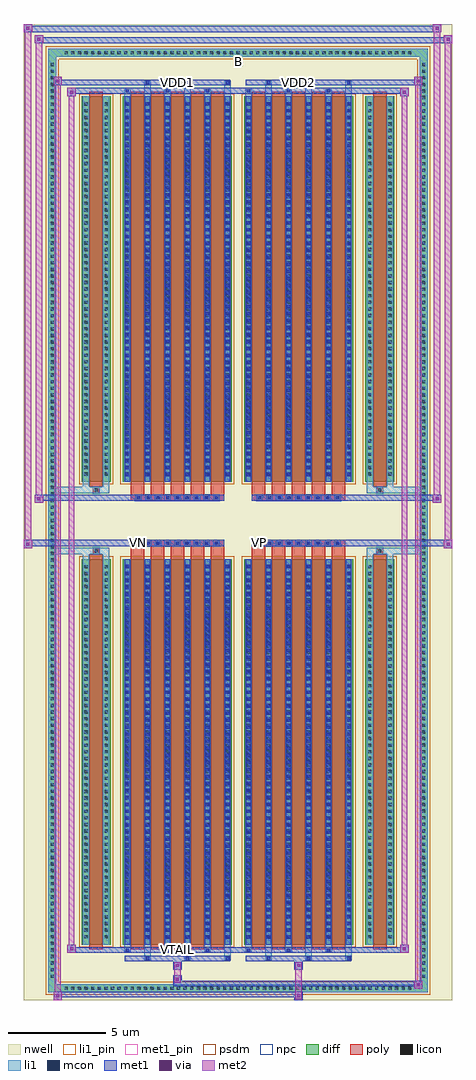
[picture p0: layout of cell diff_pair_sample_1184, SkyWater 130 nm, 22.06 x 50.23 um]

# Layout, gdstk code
import gdstk
lib = gdstk.Library(unit=1e-6, precision=5e-09)
def R(c, l, rs):  # rectangles x0, y0, x1, y1
    for r in rs: c.add(gdstk.rectangle(r[:2], r[2:], *l))
def A(c, l, x, y, w, h, nx, ny, dx, dy):  # array of equal rectangles
    R(c, l, [(x+i*dx, y+j*dy, x+i*dx+w, y+j*dy+h) for i in range(nx) for j in range(ny)])
def P(c, l, *ps):  # polygons
    for p in ps: c.add(gdstk.Polygon(p, *l))
nwell = (64, 20)
diff = (65, 20)
poly = (66, 20)
licon = (66, 44)
li1_pin = (67, 16)
li1 = (67, 20)
mcon = (67, 44)
met1_pin = (68, 16)
met1 = (68, 20)
via = (68, 44)
met2 = (69, 20)
psdm = (94, 20)
npc = (95, 20)

diff_pair_sample_1184 = lib.new_cell('diff_pair_sample_1184')
R(diff_pair_sample_1184, nwell, [(-11.03,-24.68,11.03,25.55), (-8.35,-22.87,-0.01,-0.805), (0.01,-22.87,8.35,-0.805), (-8.35,0.805,-0.01,22.87), (0.01,0.805,8.35,22.87)])
A(diff_pair_sample_1184, diff, -9.045, -24.28, 0.41, 0.41, 53, 2, 0.34, 48.15)
A(diff_pair_sample_1184, diff, -9.76, -23.665, 0.41, 0.41, 1, 139, 0, 0.34)
A(diff_pair_sample_1184, diff, 9.35, -23.665, 0.41, 0.41, 1, 139, 0, 0.34)
R(diff_pair_sample_1184, diff, [(-9.045,-24.28,9.045,-23.87), (-9.76,-23.665,-9.35,23.665), (9.35,-23.665,9.76,23.665), (-8.04,-21.825,-6.56,-1.985), (-5.92,-21.825,-0.32,-1.985), (0.32,-21.825,5.92,-1.985), (6.56,-21.825,8.04,-1.985), (-8.04,1.985,-6.56,21.825), (-5.92,1.985,-0.32,21.825), (0.32,1.985,5.92,21.825), (6.56,1.985,8.04,21.825), (-9.045,23.87,9.045,24.28)])
P(diff_pair_sample_1184, diff, [(9.76,24.28),(-9.76,24.28),(-9.76,-23.87),(-9.35,-23.87),(-9.35,23.87),(9.35,23.87),(9.35,-23.87),(-9.35,-23.87),(-9.76,-23.87),(-9.76,-24.28),(9.76,-24.28)])
A(diff_pair_sample_1184, poly, -5.53, -22.075, 0.7, 20.34, 5, 2, 1.03, 23.81)
A(diff_pair_sample_1184, poly, 0.71, -22.075, 0.7, 20.34, 5, 2, 1.03, 23.81)
A(diff_pair_sample_1184, poly, -5.53, -1.735, 0.7, 0.4, 5, 2, 1.03, 3.07)
A(diff_pair_sample_1184, poly, 0.71, -1.735, 0.7, 0.4, 5, 2, 1.03, 3.07)
A(diff_pair_sample_1184, poly, -5.285, -1.335, 0.33, 0.33, 9, 2, 0.5, 2.34)
A(diff_pair_sample_1184, poly, 0.955, -1.335, 0.33, 0.33, 9, 2, 0.5, 2.34)
R(diff_pair_sample_1184, poly, [(-7.65,-22.075,-6.95,-1.735), (6.95,-22.075,7.65,-1.735), (-7.465,-1.735,-7.135,-1.405), (-7.465,-1.735,-7.135,-1.405), (7.135,-1.735,7.465,-1.405), (7.135,-1.735,7.465,-1.405), (-5.53,-1.335,-0.71,-1.005), (0.71,-1.335,5.53,-1.005), (-5.53,1.005,-0.71,1.335), (0.71,1.005,5.53,1.335), (-7.465,1.405,-7.135,1.735), (-7.465,1.405,-7.135,1.735), (7.135,1.405,7.465,1.735), (7.135,1.405,7.465,1.735), (-7.65,1.735,-6.95,22.075), (6.95,1.735,7.65,22.075)])
A(diff_pair_sample_1184, licon, -8.925, -24.16, 0.17, 0.17, 53, 2, 0.34, 48.15)
A(diff_pair_sample_1184, licon, -9.64, -23.545, 0.17, 0.17, 1, 139, 0, 0.34)
A(diff_pair_sample_1184, licon, 9.47, -23.545, 0.17, 0.17, 1, 139, 0, 0.34)
A(diff_pair_sample_1184, licon, -7.9, -21.51, 0.17, 0.17, 1, 57, 0, 0.34)
A(diff_pair_sample_1184, licon, -6.87, -21.51, 0.17, 0.17, 1, 57, 0, 0.34)
A(diff_pair_sample_1184, licon, -5.78, -21.51, 0.17, 0.17, 6, 57, 1.03, 0.34)
A(diff_pair_sample_1184, licon, 0.46, -21.51, 0.17, 0.17, 6, 57, 1.03, 0.34)
A(diff_pair_sample_1184, licon, 6.7, -21.51, 0.17, 0.17, 1, 57, 0, 0.34)
A(diff_pair_sample_1184, licon, 7.73, -21.51, 0.17, 0.17, 1, 57, 0, 0.34)
A(diff_pair_sample_1184, licon, -5.205, -1.255, 0.17, 0.17, 9, 2, 0.5, 2.34)
A(diff_pair_sample_1184, licon, 1.035, -1.255, 0.17, 0.17, 9, 2, 0.5, 2.34)
A(diff_pair_sample_1184, licon, -7.9, 2.3, 0.17, 0.17, 1, 57, 0, 0.34)
A(diff_pair_sample_1184, licon, -6.87, 2.3, 0.17, 0.17, 1, 57, 0, 0.34)
A(diff_pair_sample_1184, licon, -5.78, 2.3, 0.17, 0.17, 6, 57, 1.03, 0.34)
A(diff_pair_sample_1184, licon, 0.46, 2.3, 0.17, 0.17, 6, 57, 1.03, 0.34)
A(diff_pair_sample_1184, licon, 6.7, 2.3, 0.17, 0.17, 1, 57, 0, 0.34)
A(diff_pair_sample_1184, licon, 7.73, 2.3, 0.17, 0.17, 1, 57, 0, 0.34)
R(diff_pair_sample_1184, licon, [(-7.385,-1.655,-7.215,-1.485), (7.215,-1.655,7.385,-1.485), (-7.385,1.485,-7.215,1.655), (7.215,1.485,7.385,1.655)])
R(diff_pair_sample_1184, li1_pin, [(-0.25,23.37,0.25,23.87)])
A(diff_pair_sample_1184, li1, -9.005, -24.24, 0.33, 0.33, 53, 2, 0.34, 48.15)
A(diff_pair_sample_1184, li1, -9.72, -23.625, 0.33, 0.33, 1, 139, 0, 0.34)
A(diff_pair_sample_1184, li1, 9.39, -23.625, 0.33, 0.33, 1, 139, 0, 0.34)
A(diff_pair_sample_1184, li1, -4.83, -22.63, 0.33, 0.805, 3, 2, 2.06, 44.455)
A(diff_pair_sample_1184, li1, -4.75, -22.63, 0.17, 0.17, 3, 2, 2.06, 45.09)
A(diff_pair_sample_1184, li1, 1.41, -22.63, 0.33, 0.805, 3, 2, 2.06, 44.455)
A(diff_pair_sample_1184, li1, 1.49, -22.63, 0.17, 0.17, 3, 2, 2.06, 45.09)
A(diff_pair_sample_1184, li1, -5.86, -22.2, 0.33, 0.375, 3, 2, 2.06, 44.025)
A(diff_pair_sample_1184, li1, -5.78, -22.2, 0.17, 0.17, 3, 2, 2.06, 44.23)
A(diff_pair_sample_1184, li1, 0.38, -22.2, 0.33, 0.375, 3, 2, 2.06, 44.025)
A(diff_pair_sample_1184, li1, 0.46, -22.2, 0.17, 0.17, 3, 2, 2.06, 44.23)
A(diff_pair_sample_1184, li1, -5.86, -21.825, 0.33, 19.84, 6, 2, 1.03, 23.81)
A(diff_pair_sample_1184, li1, 0.38, -21.825, 0.33, 19.84, 6, 2, 1.03, 23.81)
A(diff_pair_sample_1184, li1, -7.98, -21.59, 0.33, 0.33, 1, 57, 0, 0.34)
A(diff_pair_sample_1184, li1, -6.95, -21.59, 0.33, 0.33, 1, 57, 0, 0.34)
A(diff_pair_sample_1184, li1, -5.86, -21.59, 0.33, 0.33, 6, 57, 1.03, 0.34)
A(diff_pair_sample_1184, li1, 0.38, -21.59, 0.33, 0.33, 6, 57, 1.03, 0.34)
A(diff_pair_sample_1184, li1, 6.62, -21.59, 0.33, 0.33, 1, 57, 0, 0.34)
A(diff_pair_sample_1184, li1, 7.65, -21.59, 0.33, 0.33, 1, 57, 0, 0.34)
A(diff_pair_sample_1184, li1, -5.78, -21.53, 0.17, 0.17, 6, 54, 1.03, 0.36)
A(diff_pair_sample_1184, li1, -5.78, -21.53, 0.17, 19.25, 6, 2, 1.03, 23.81)
A(diff_pair_sample_1184, li1, 0.46, -21.53, 0.17, 0.17, 6, 54, 1.03, 0.36)
A(diff_pair_sample_1184, li1, 0.46, -21.53, 0.17, 19.25, 6, 2, 1.03, 23.81)
A(diff_pair_sample_1184, li1, -5.285, -1.335, 0.33, 0.33, 9, 2, 0.5, 2.34)
A(diff_pair_sample_1184, li1, 0.955, -1.335, 0.33, 0.33, 9, 2, 0.5, 2.34)
A(diff_pair_sample_1184, li1, -7.98, 2.22, 0.33, 0.33, 1, 57, 0, 0.34)
A(diff_pair_sample_1184, li1, -6.95, 2.22, 0.33, 0.33, 1, 57, 0, 0.34)
A(diff_pair_sample_1184, li1, -5.86, 2.22, 0.33, 0.33, 6, 57, 1.03, 0.34)
A(diff_pair_sample_1184, li1, 0.38, 2.22, 0.33, 0.33, 6, 57, 1.03, 0.34)
A(diff_pair_sample_1184, li1, 6.62, 2.22, 0.33, 0.33, 1, 57, 0, 0.34)
A(diff_pair_sample_1184, li1, 7.65, 2.22, 0.33, 0.33, 1, 57, 0, 0.34)
A(diff_pair_sample_1184, li1, -5.78, 2.28, 0.17, 0.17, 6, 54, 1.03, 0.36)
A(diff_pair_sample_1184, li1, 0.46, 2.28, 0.17, 0.17, 6, 54, 1.03, 0.36)
R(diff_pair_sample_1184, li1, [(-9.76,-24.28,-9.35,-23.87), (-9.76,-24.28,-9.35,-23.87), (-9.35,-24.28,9.35,-23.87), (9.35,-24.28,9.76,-23.87), (9.35,-24.28,9.76,-23.87), (-9.76,-23.87,-9.35,23.87), (9.35,-23.87,9.76,23.87), (-7.98,-21.825,-7.65,-1.985), (-6.95,-21.825,-6.62,-1.985), (6.62,-21.825,6.95,-1.985), (7.65,-21.825,7.98,-1.985), (-7.98,-1.985,-7.65,-1.405), (-6.95,-1.985,-6.62,-1.405), (6.62,-1.985,6.95,-1.405), (7.65,-1.985,7.98,-1.405), (-9.76,-1.735,-7.465,-1.405), (-7.98,-1.735,-7.465,-1.405), (-7.465,-1.735,-7.135,-1.405), (-7.135,-1.735,-6.62,-1.405), (6.62,-1.735,7.135,-1.405), (7.135,-1.735,7.465,-1.405), (7.135,-1.735,9.76,-1.405), (7.465,-1.735,7.98,-1.405), (-9.76,1.405,-7.465,1.735), (-7.98,1.405,-7.465,1.735), (-7.98,1.405,-7.65,1.985), (-7.465,1.405,-7.135,1.735), (-7.135,1.405,-6.62,1.735), (-6.95,1.405,-6.62,1.985), (6.62,1.405,7.135,1.735), (6.62,1.405,6.95,1.985), (7.135,1.405,7.465,1.735), (7.135,1.405,9.76,1.735), (7.465,1.405,7.98,1.735), (7.65,1.405,7.98,1.985), (-7.98,1.985,-7.65,21.825), (-6.95,1.985,-6.62,21.825), (6.62,1.985,6.95,21.825), (7.65,1.985,7.98,21.825), (-9.76,23.87,-9.35,24.28), (-9.76,23.87,-9.35,24.28), (-9.35,23.87,9.35,24.28), (9.35,23.87,9.76,24.28), (9.35,23.87,9.76,24.28)])
A(diff_pair_sample_1184, mcon, -4.75, -22.63, 0.17, 0.17, 3, 2, 2.06, 45.09)
A(diff_pair_sample_1184, mcon, 1.49, -22.63, 0.17, 0.17, 3, 2, 2.06, 45.09)
A(diff_pair_sample_1184, mcon, -5.78, -22.2, 0.17, 0.17, 3, 2, 2.06, 44.23)
A(diff_pair_sample_1184, mcon, 0.46, -22.2, 0.17, 0.17, 3, 2, 2.06, 44.23)
A(diff_pair_sample_1184, mcon, -5.78, -21.53, 0.17, 0.17, 6, 54, 1.03, 0.36)
A(diff_pair_sample_1184, mcon, 0.46, -21.53, 0.17, 0.17, 6, 54, 1.03, 0.36)
A(diff_pair_sample_1184, mcon, -5.205, -1.255, 0.17, 0.17, 9, 2, 0.5, 2.34)
A(diff_pair_sample_1184, mcon, 1.035, -1.255, 0.17, 0.17, 9, 2, 0.5, 2.34)
A(diff_pair_sample_1184, mcon, -5.78, 2.28, 0.17, 0.17, 6, 54, 1.03, 0.36)
A(diff_pair_sample_1184, mcon, 0.46, 2.28, 0.17, 0.17, 6, 54, 1.03, 0.36)
R(diff_pair_sample_1184, met1_pin, [(-3.255,-22.24,-2.985,-21.97), (-5.255,-1.295,-4.985,-1.025), (0.985,-1.295,1.255,-1.025), (-3.255,22.42,-2.985,22.69), (2.985,22.42,3.255,22.69)])
A(diff_pair_sample_1184, met1, -4.81, -22.69, 0.29, 0.29, 3, 2, 2.06, 45.09)
A(diff_pair_sample_1184, met1, 1.43, -22.69, 0.29, 0.29, 3, 2, 2.06, 45.09)
A(diff_pair_sample_1184, met1, -5.84, -22.26, 0.29, 0.29, 3, 2, 2.06, 44.23)
A(diff_pair_sample_1184, met1, 0.4, -22.26, 0.29, 0.29, 3, 2, 2.06, 44.23)
A(diff_pair_sample_1184, met1, -5.84, -21.825, 0.29, 19.84, 6, 2, 1.03, 23.81)
A(diff_pair_sample_1184, met1, 0.4, -21.825, 0.29, 19.84, 6, 2, 1.03, 23.81)
A(diff_pair_sample_1184, met1, -5.84, -21.59, 0.29, 0.29, 6, 54, 1.03, 0.36)
A(diff_pair_sample_1184, met1, 0.4, -21.59, 0.29, 0.29, 6, 54, 1.03, 0.36)
A(diff_pair_sample_1184, met1, -5.265, -1.315, 0.29, 0.29, 9, 2, 0.5, 2.34)
A(diff_pair_sample_1184, met1, 0.975, -1.315, 0.29, 0.29, 9, 2, 0.5, 2.34)
A(diff_pair_sample_1184, met1, -5.84, 2.22, 0.29, 0.29, 6, 54, 1.03, 0.36)
A(diff_pair_sample_1184, met1, 0.4, 2.22, 0.29, 0.29, 6, 54, 1.03, 0.36)
R(diff_pair_sample_1184, met1, [(-9.49,-24.68,-9.06,-24.25), (2.905,-24.68,3.335,-24.25), (-9.49,-24.54,3.335,-24.25), (9.06,-24.11,9.49,-23.68), (-3.335,-23.97,9.49,-23.68), (-3.335,-23.83,-2.905,-23.4), (-3.335,-23.12,-2.905,-22.69), (2.905,-23.12,3.335,-22.69), (-5.84,-22.69,-0.4,-22.4), (0.4,-22.69,5.84,-22.4), (-8.78,-22.26,-8.35,-21.83), (-8.78,-22.26,-5.84,-21.97), (-5.84,-22.26,-0.4,-21.97), (-0.4,-22.26,0.4,-21.97), (0.4,-22.26,5.84,-21.97), (5.84,-22.26,8.78,-21.97), (8.35,-22.26,8.78,-21.83), (-11.03,-1.435,-10.6,-1.005), (10.6,-1.435,11.03,-1.005), (-11.03,-1.335,-0.71,-1.005), (-5.53,-1.335,-0.71,-1.005), (0.71,-1.335,5.53,-1.005), (0.71,-1.335,11.03,-1.005), (-10.46,0.905,-10.03,1.335), (10.03,0.905,10.46,1.335), (-10.46,1.005,-5.53,1.335), (-5.53,1.005,-0.71,1.335), (0.71,1.005,5.53,1.335), (5.53,1.005,10.46,1.335), (-8.78,21.83,-8.35,22.26), (8.35,21.83,8.78,22.26), (-8.78,21.97,-5.84,22.26), (-5.84,21.97,-0.4,22.26), (-0.4,21.97,0.4,22.26), (0.4,21.97,5.84,22.26), (5.84,21.97,8.78,22.26), (-9.49,22.4,-9.06,22.83), (-9.49,22.4,-5.84,22.69), (-5.84,22.4,-0.4,22.69), (0.4,22.4,5.84,22.69), (5.84,22.4,9.49,22.69), (9.06,22.4,9.49,22.83), (-10.46,24.55,-10.03,24.98), (-10.46,24.55,-8.35,24.88), (-8.35,24.55,8.35,24.88), (8.35,24.55,11.03,24.88), (10.6,24.55,11.03,24.98), (-11.03,25.12,-10.6,25.55), (-11.03,25.12,-8.35,25.45), (-8.35,25.12,8.35,25.45), (8.35,25.12,10.46,25.45), (10.03,25.12,10.46,25.55)])
R(diff_pair_sample_1184, via, [(-9.35,-24.54,-9.2,-24.39), (3.045,-24.54,3.195,-24.39), (9.2,-23.97,9.35,-23.82), (-3.195,-23.69,-3.045,-23.54), (-3.195,-22.98,-3.045,-22.83), (3.045,-22.98,3.195,-22.83), (-8.64,-22.12,-8.49,-21.97), (8.49,-22.12,8.64,-21.97), (-10.89,-1.295,-10.74,-1.145), (10.74,-1.295,10.89,-1.145), (-10.32,1.045,-10.17,1.195), (10.17,1.045,10.32,1.195), (-8.64,21.97,-8.49,22.12), (8.49,21.97,8.64,22.12), (-9.35,22.54,-9.2,22.69), (9.2,22.54,9.35,22.69), (-10.32,24.69,-10.17,24.84), (10.74,24.69,10.89,24.84), (-10.89,25.26,-10.74,25.41), (10.17,25.26,10.32,25.41)])
R(diff_pair_sample_1184, met2, [(-9.49,-24.68,-9.06,-24.25), (-9.42,-24.68,-9.13,22.83), (-9.13,-24.68,-9.06,-24.25), (-9.44,-24.63,-9.11,-24.3), (2.955,-24.63,3.285,-24.3), (2.955,-24.3,3.285,-23.07), (9.06,-24.11,9.49,-23.68), (9.13,-24.11,9.42,22.83), (9.42,-24.11,9.49,-23.68), (9.11,-24.06,9.44,-23.73), (-3.285,-23.78,-2.955,-23.45), (-3.285,-23.45,-2.955,-23.07), (-3.285,-23.07,-2.955,-22.74), (2.955,-23.07,3.285,-22.74), (-8.78,-22.26,-8.35,-21.83), (-8.71,-22.26,-8.42,22.26), (-8.42,-22.26,-8.35,-21.83), (8.35,-22.26,8.78,-21.83), (8.42,-22.26,8.71,22.26), (8.71,-22.26,8.78,-21.83), (-8.73,-22.21,-8.4,-21.88), (8.4,-22.21,8.73,-21.88), (-11.03,-1.435,-10.6,-1.005), (-10.98,-1.435,-10.65,25.55), (-10.65,-1.435,-10.6,-1.005), (10.6,-1.435,11.03,-1.005), (10.65,-1.435,10.98,24.98), (10.98,-1.435,11.03,-1.005), (-10.98,-1.385,-10.65,-1.055), (10.65,-1.385,10.98,-1.055), (-10.46,0.905,-10.03,1.335), (-10.41,0.905,-10.08,24.98), (-10.08,0.905,-10.03,1.335), (10.03,0.905,10.46,1.335), (10.08,0.905,10.41,25.55), (10.41,0.905,10.46,1.335), (-10.41,0.955,-10.08,1.285), (10.08,0.955,10.41,1.285), (-8.78,21.83,-8.35,22.26), (-8.42,21.83,-8.35,22.26), (8.35,21.83,8.78,22.26), (8.71,21.83,8.78,22.26), (-8.73,21.88,-8.4,22.21), (8.4,21.88,8.73,22.21), (-9.49,22.4,-9.06,22.83), (-9.13,22.4,-9.06,22.83), (9.06,22.4,9.49,22.83), (9.42,22.4,9.49,22.83), (-9.44,22.45,-9.11,22.78), (9.11,22.45,9.44,22.78), (-10.46,24.55,-10.03,24.98), (-10.08,24.55,-10.03,24.98), (10.6,24.55,11.03,24.98), (10.98,24.55,11.03,24.98), (-10.41,24.6,-10.08,24.93), (10.65,24.6,10.98,24.93), (-11.03,25.12,-10.6,25.55), (-10.65,25.12,-10.6,25.55), (10.03,25.12,10.46,25.55), (10.41,25.12,10.46,25.55), (-10.98,25.17,-10.65,25.5), (10.08,25.17,10.41,25.5)])
R(diff_pair_sample_1184, psdm, [(-8.17,-21.955,-6.43,-1.855), (-6.05,-21.955,-0.19,-1.855), (0.19,-21.955,6.05,-1.855), (6.43,-21.955,8.17,-1.855), (-8.17,1.855,-6.43,21.955), (-6.05,1.855,-0.19,21.955), (0.19,1.855,6.05,21.955), (6.43,1.855,8.17,21.955)])
P(diff_pair_sample_1184, psdm, [(9.89,24.41),(-9.89,24.41),(-9.89,-23.74),(-9.22,-23.74),(-9.22,23.74),(9.22,23.74),(9.22,-23.74),(-9.22,-23.74),(-9.89,-23.74),(-9.89,-24.41),(9.89,-24.41)])
A(diff_pair_sample_1184, npc, -5.305, -1.355, 0.37, 0.37, 9, 2, 0.5, 2.34)
A(diff_pair_sample_1184, npc, 0.935, -1.355, 0.37, 0.37, 9, 2, 0.5, 2.34)
R(diff_pair_sample_1184, npc, [(-7.485,-1.755,-7.115,-1.385), (7.115,-1.755,7.485,-1.385), (-5.305,-1.355,-4.435,-0.985), (-5.305,-1.355,-4.435,-0.985), (-4.805,-1.355,-3.935,-0.985), (-4.805,-1.355,-3.935,-0.985), (-4.305,-1.355,-3.435,-0.985), (-4.305,-1.355,-3.435,-0.985), (-3.805,-1.355,-2.935,-0.985), (-3.805,-1.355,-2.935,-0.985), (-3.305,-1.355,-2.435,-0.985), (-3.305,-1.355,-2.435,-0.985), (-2.805,-1.355,-1.935,-0.985), (-2.805,-1.355,-1.935,-0.985), (-2.305,-1.355,-1.435,-0.985), (-2.305,-1.355,-1.435,-0.985), (-1.805,-1.355,-0.935,-0.985), (-1.805,-1.355,-0.935,-0.985), (0.935,-1.355,1.805,-0.985), (0.935,-1.355,1.805,-0.985), (1.435,-1.355,2.305,-0.985), (1.435,-1.355,2.305,-0.985), (1.935,-1.355,2.805,-0.985), (1.935,-1.355,2.805,-0.985), (2.435,-1.355,3.305,-0.985), (2.435,-1.355,3.305,-0.985), (2.935,-1.355,3.805,-0.985), (2.935,-1.355,3.805,-0.985), (3.435,-1.355,4.305,-0.985), (3.435,-1.355,4.305,-0.985), (3.935,-1.355,4.805,-0.985), (3.935,-1.355,4.805,-0.985), (4.435,-1.355,5.305,-0.985), (4.435,-1.355,5.305,-0.985), (-5.305,0.985,-4.435,1.355), (-5.305,0.985,-4.435,1.355), (-4.805,0.985,-3.935,1.355), (-4.805,0.985,-3.935,1.355), (-4.305,0.985,-3.435,1.355), (-4.305,0.985,-3.435,1.355), (-3.805,0.985,-2.935,1.355), (-3.805,0.985,-2.935,1.355), (-3.305,0.985,-2.435,1.355), (-3.305,0.985,-2.435,1.355), (-2.805,0.985,-1.935,1.355), (-2.805,0.985,-1.935,1.355), (-2.305,0.985,-1.435,1.355), (-2.305,0.985,-1.435,1.355), (-1.805,0.985,-0.935,1.355), (-1.805,0.985,-0.935,1.355), (0.935,0.985,1.805,1.355), (0.935,0.985,1.805,1.355), (1.435,0.985,2.305,1.355), (1.435,0.985,2.305,1.355), (1.935,0.985,2.805,1.355), (1.935,0.985,2.805,1.355), (2.435,0.985,3.305,1.355), (2.435,0.985,3.305,1.355), (2.935,0.985,3.805,1.355), (2.935,0.985,3.805,1.355), (3.435,0.985,4.305,1.355), (3.435,0.985,4.305,1.355), (3.935,0.985,4.805,1.355), (3.935,0.985,4.805,1.355), (4.435,0.985,5.305,1.355), (4.435,0.985,5.305,1.355), (-7.485,1.385,-7.115,1.755), (7.115,1.385,7.485,1.755)])
diff_pair_sample_1184.add(gdstk.Label('VTAIL', (-3.12,-22.105), layer=68, texttype=5))
diff_pair_sample_1184.add(gdstk.Label('VN', (-5.12,-1.16), layer=68, texttype=5))
diff_pair_sample_1184.add(gdstk.Label('VP', (1.12,-1.16), layer=68, texttype=5))
diff_pair_sample_1184.add(gdstk.Label('B', (0,23.62), layer=67, texttype=5))
diff_pair_sample_1184.add(gdstk.Label('VDD2', (3.12,22.555), layer=68, texttype=5))
diff_pair_sample_1184.add(gdstk.Label('VDD1', (-3.12,22.555), layer=68, texttype=5))

lib.write_gds('diff_pair_sample_1184.gds')
